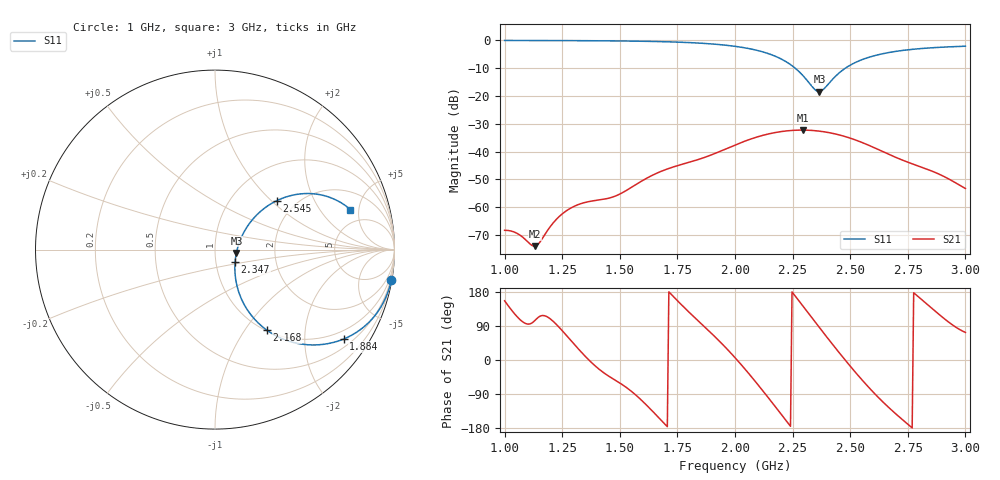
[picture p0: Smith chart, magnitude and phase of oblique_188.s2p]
! TOUCHSTONE file generated by CST MICROWAVE STUDIO
! Date and time: Tue Mar 18 00:02:55 2025
! Project name: oblique.cst
! Parameters = {Tilt=40; Fracture=1; B=12.5; D=160; F=15; Feed=2.85625; L=100; M=50; R=0.384908; S=1; Theta=180; length=57.125; wave=114.25}
! Header version: 2024
! Port assignment regex: !\s*Touchstone port\s*([0-9]+)\s*=\s*(CST MWS port|CST DES external port|CST DES block port)\s*(.+)\s* \(\"(.*)\"\)(\s*mode\s*([0-9]+))?.*
! Touchstone port assignment:
! Touchstone port 1 = CST MWS port 1 ("")
! Touchstone port 2 = CST MWS port 2 ("")
# GHz S DB R 50
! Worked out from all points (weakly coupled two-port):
!   304 points, 1 GHz to 3 GHz, reference 50 ohm
!   highest |S21| = -32.25 dB at 2.294 GHz (marker M1); lowest = -74.0 dB at 1.132 GHz (marker M2)
!   lowest |S11| = -18.4 dB at 2.366 GHz (marker M3), VSWR 1.27, Z = 63.5 - j2.41 ohm
!   |S11| at or under -10 dB: 2.261 GHz to 2.479 GHz (217.4 MHz wide, 9.17 % of centre)
!   S12 and S22 are empty: the file has one direction only
!   S11 on the Smith chart (normalised r, x): 1 GHz: 0, -12; 1.884 GHz: 0.72, -3.03; 2.168 GHz: 1.01, -1.27; 2.347 GHz: 1.24, -0.17; 2.545 GHz: 1.60, +1.08; 3 GHz: 3.46, +4.04
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1  -0.02 -9.9  -68.28 156.2  -200.00 0.0  -200.00 0.0
1.05281  -0.03 -10.6  -69.32 115.3  -200.00 0.0  -200.00 0.0
1.13201  -0.04 -11.8  -73.98 104.6  -200.00 0.0  -200.00 0.0
1.15182  -0.04 -12.1  -72.67 115.0  -200.00 0.0  -200.00 0.0
1.19802  -0.05 -12.8  -66.97 108.7  -200.00 0.0  -200.00 0.0
1.23762  -0.07 -13.5  -63.28 85.7  -200.00 0.0  -200.00 0.0
1.33663  -0.10 -15.4  -58.55 18.3  -200.00 0.0  -200.00 0.0
1.48185  -0.18 -18.7  -55.93 -53.9  -200.00 0.0  -200.00 0.0
1.66667  -0.42 -24.5  -47.52 -150.7  -200.00 0.0  -200.00 0.0
1.88449  -1.18 -34.8  -41.57 78.0  -200.00 0.0  -200.00 0.0
2.0033  -2.17 -42.9  -37.51 4.0  -200.00 0.0  -200.00 0.0
2.16832  -5.47 -57.3  -33.23 -117.9  -200.00 0.0  -200.00 0.0
2.23432  -8.33 -61.7  -32.45 -169.8  -200.00 0.0  -200.00 0.0
2.29373  -12.55 -58.7  -32.25 143.0  -200.00 0.0  -200.00 0.0
2.33993  -17.10 -37.3  -32.41 106.4  -200.00 0.0  -200.00 0.0
2.34653  -17.65 -31.2  -32.45 101.2  -200.00 0.0  -200.00 0.0
2.36634  -18.37 -8.9  -32.63 85.6  -200.00 0.0  -200.00 0.0
2.46535  -10.80 39.4  -34.27 9.5  -200.00 0.0  -200.00 0.0
2.54455  -7.14 38.4  -36.48 -47.9  -200.00 0.0  -200.00 0.0
2.66997  -4.33 30.9  -41.04 -126.9  -200.00 0.0  -200.00 0.0
2.88119  -2.52 20.5  -47.92 122.6  -200.00 0.0  -200.00 0.0
3  -2.09 16.5  -53.24 72.8  -200.00 0.0  -200.00 0.0
